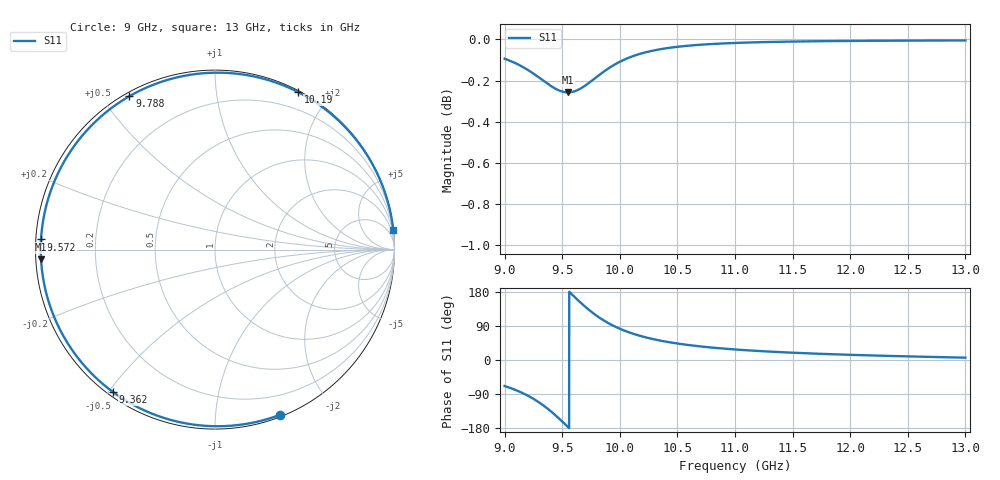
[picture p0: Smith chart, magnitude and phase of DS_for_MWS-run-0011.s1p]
! TOUCHSTONE file generated by CST DESIGN STUDIO
! Date and time: Tue Feb  4 13:40:15 2025
! Project name: C:\Work\MatlabApps\UnitCellOptimizationMatlab\CST\unitcell.cst
! Tree item: Tasks\Sweep1\SPara1\S-Parameters
! Header version: 2024
! Port assignment regex: !\s*Touchstone port\s*([0-9]+)\s*=\s*(CST MWS port|CST DES external port|CST DES block port)\s*(.+)\s* \(\"(.*)\"\)(\s*mode\s*([0-9]+))?.*
! Touchstone port assignment:
! Touchstone port 1 = CST DES external port 1 ("")
# GHz S MA R 50
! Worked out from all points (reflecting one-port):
!   4001 points, 9 GHz to 13 GHz, reference 50 ohm
!   lowest |S11| = -0.3 dB at 9.55 GHz (marker M1), VSWR 67.47, Z = 0.742 - j1.37 ohm
!   phase of S11 starts at -69 deg and turns -285 deg over the sweep
!   S11 on the Smith chart (normalised r, x): 9 GHz: 0.02, -1.46; 9.362 GHz: 0.02, -0.51; 9.572 GHz: 0.01, +0.03; 9.788 GHz: 0.01, +0.59; 10.19 GHz: 0.01, +1.65; 13 GHz: 0, +19
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9  0.9893 -68.7
9.039  0.9883 -72.7
9.105  0.9865 -80.3
9.216  0.9825 -96.5
9.293  0.9792 -110.6
9.362  0.976 -125.7
9.429  0.9732 -142.5
9.5  0.9712 -162.2
9.55  0.9708 -176.8
9.572  0.9709 176.7
9.627  0.9719 160.6
9.687  0.974 143.9
9.737  0.9762 131.1
9.788  0.9787 119.2
9.834  0.9809 109.5
9.883  0.9832 100.4
9.937  0.9854 91.5
10  0.9876 82.5
10.092  0.9902 71.7
10.193  0.9923 62.3
10.334  0.9943 52.2
10.5  0.9959 43.5
10.721  0.9971 35.1
11  0.998 27.8
11.5  0.9988 19.2
12  0.9992 13.7
12.5  0.9993 9.5
13  0.9994 6.2
